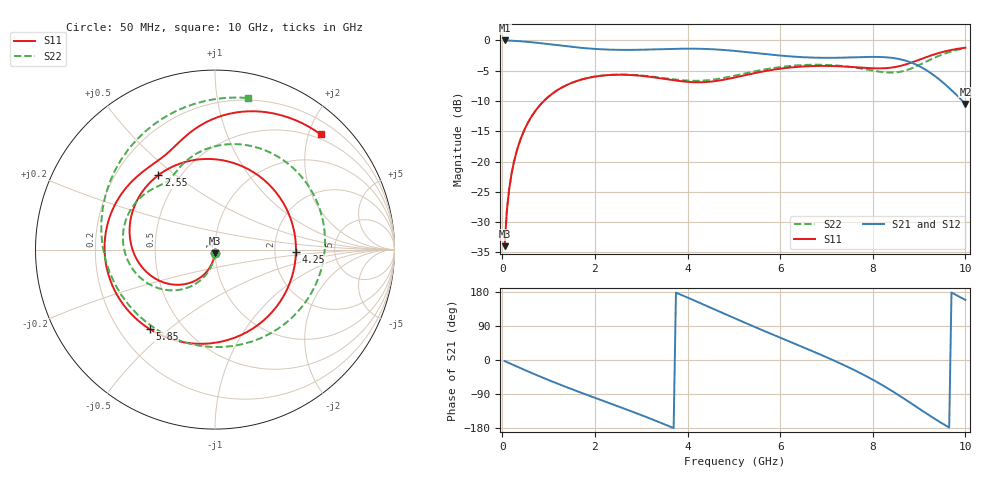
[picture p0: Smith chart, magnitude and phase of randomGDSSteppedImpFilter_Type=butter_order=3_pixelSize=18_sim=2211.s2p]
! freq	dB(S11)	phase(S11)	dB(S12)	phase(S12)
!  dB(S21)	phase(S21)	dB(S22)	phase(S22)
!S-par simulation data
#  GHz  S  DB  R 50
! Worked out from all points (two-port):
!   200 points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, 50 MHz to 10 GHz, reference 50 ohm
!   highest |S21| = 0.00 dB at 50 MHz (marker M1); lowest = -10.5 dB at 10 GHz (marker M2)
!   |S21| within 3 dB of the highest: start of sweep to 8.523 GHz
!   lowest |S11| = -34.0 dB at 50 MHz (marker M3), VSWR 1.04, Z = 49.9 - j1.99 ohm
!   |S11| at or under -10 dB: start of sweep to 898 MHz
!   |S22| runs from -34.0 to -1.3 dB; largest |S21 - S12| = 0
!   S11 on the Smith chart (normalised r, x): 50 MHz: 1.00, -0.04; 2.55 GHz: 0.38, +0.44; 4.25 GHz: 2.64, -0.09; 5.85 GHz: 0.33, -0.43; 10 GHz: 0.42, +2.21
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0.05  -33.98 -93.0  -0.00 -2.8  -0.00 -2.8  -33.98 -92.6
0.1  -27.98 -96.2  -0.01 -5.5  -0.01 -5.5  -27.97 -95.3
0.2  -22.02 -102.3  -0.05 -11.0  -0.05 -11.0  -22.02 -100.6
0.5  -14.40 -120.0  -0.20 -27.2  -0.20 -27.2  -14.40 -115.5
1.1  -8.68 -153.7  -0.71 -57.9  -0.71 -57.9  -8.67 -143.2
1.75  -6.38 171.4  -1.25 -88.5  -1.25 -88.5  -6.37 -169.6
2.55  -5.66 127.3  -1.56 -124.5  -1.56 -124.5  -5.63 162.7
3.4  -6.24 71.0  -1.45 -164.6  -1.45 -164.6  -6.13 139.2
3.85  -6.73 34.5  -1.37 172.6  -1.37 172.6  -6.55 130.4
4.25  -6.91 -1.7  -1.38 151.4  -1.38 151.4  -6.66 124.2
4.6  -6.72 -34.0  -1.48 132.6  -1.48 132.6  -6.42 118.7
5.05  -6.07 -72.8  -1.75 108.4  -1.75 108.4  -5.76 109.1
5.85  -4.83 -129.5  -2.39 66.6  -2.39 66.6  -4.55 82.6
6.7  -4.23 -176.3  -2.84 23.2  -2.84 23.2  -4.01 43.3
7.2  -4.25 160.4  -2.87 -3.5  -2.87 -3.5  -4.13 13.8
7.6  -4.41 143.7  -2.79 -26.6  -2.79 -26.6  -4.47 -15.1
7.95  -4.58 131.0  -2.72 -48.7  -2.72 -48.7  -4.92 -46.7
8.35  -4.53 118.7  -2.82 -76.8  -2.82 -76.8  -5.31 -92.5
8.7  -3.99 108.4  -3.32 -104.0  -3.32 -104.0  -4.98 -140.3
9.1  -2.91 93.3  -4.64 -136.4  -4.64 -136.4  -3.70 165.6
9.55  -1.82 71.4  -7.18 -171.1  -7.18 -171.1  -2.19 115.6
10  -1.20 47.4  -10.48 158.6  -10.48 158.6  -1.26 77.6
